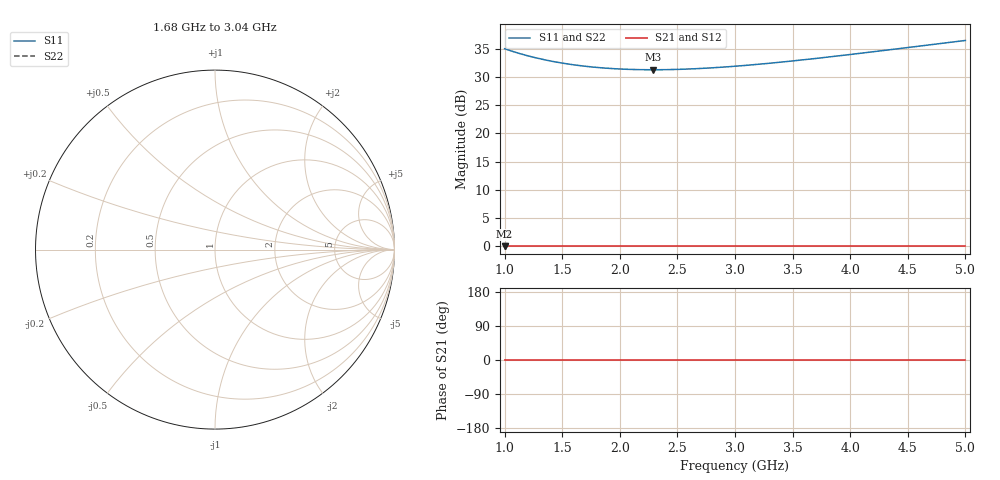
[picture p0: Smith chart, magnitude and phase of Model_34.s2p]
# GHZ S RI R 50
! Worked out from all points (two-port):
!   401 points, 1 GHz to 5 GHz, reference 50 ohm
!   highest |S21| = 0.00 dB at 1 GHz (marker M1); lowest = 0.0 dB at 1 GHz (marker M2)
!   |S21| within 3 dB of the highest: start of sweep to end of sweep
!   lowest |S11| = 31.3 dB at 2.29 GHz (marker M3)
!   |S11| at or under -10 dB: nowhere
!   |S22| runs from 31.3 to 36.5 dB; largest |S21 - S12| = 0
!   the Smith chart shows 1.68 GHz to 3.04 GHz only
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1  56.21 0  1 0  1 0  56.21 0
1.15  50.26 0  1 0  1 0  50.26 0
1.22  48.08 0  1 0  1 0  48.08 0
1.3  45.94 0  1 0  1 0  45.94 0
1.38  44.13 0  1 0  1 0  44.13 0
1.47  42.42 0  1 0  1 0  42.42 0
1.57  40.86 0  1 0  1 0  40.86 0
1.67  39.61 0  1 0  1 0  39.61 0
1.81  38.29 0  1 0  1 0  38.29 0
1.96  37.34 0  1 0  1 0  37.34 0
2.12  36.77 0  1 0  1 0  36.77 0
2.29  36.58 0  1 0  1 0  36.58 0
2.34  36.6 0  1 0  1 0  36.6 0
2.5  36.85 0  1 0  1 0  36.85 0
2.66  37.38 0  1 0  1 0  37.38 0
3  39.31 0  1 0  1 0  39.31 0
3.33  42.07 0  1 0  1 0  42.07 0
3.67  45.71 0  1 0  1 0  45.71 0
4  49.94 0  1 0  1 0  49.94 0
4.34  54.97 0  1 0  1 0  54.97 0
4.63  59.77 0  1 0  1 0  59.77 0
5  66.52 0  1 0  1 0  66.52 0
